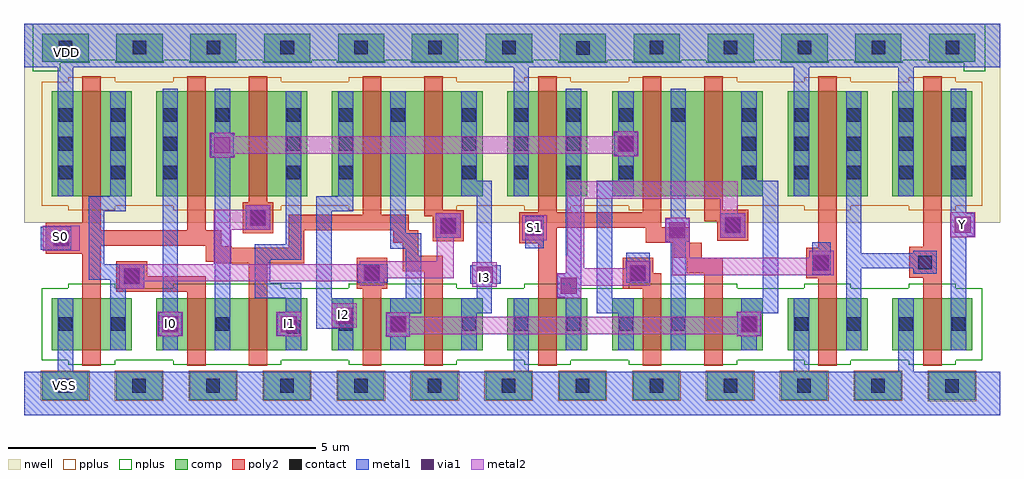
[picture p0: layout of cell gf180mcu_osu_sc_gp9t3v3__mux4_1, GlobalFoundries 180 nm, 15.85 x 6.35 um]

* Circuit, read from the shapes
.subckt gf180mcu_osu_sc_gp9t3v3__mux4_1 I0 I1 I2 I3 S0 S1 VDD VSS Y
XM1 n1 S0 VSS VSS nfet_03v3 w=0.85u l=0.3u
XM2 n2 n1 I0 VSS nfet_03v3 w=0.85u l=0.3u
XM3 I1 S0 n2 VSS nfet_03v3 w=0.85u l=0.3u
XM4 n3 n1 I2 VSS nfet_03v3 w=0.85u l=0.3u
XM5 I3 S0 n3 VSS nfet_03v3 w=0.85u l=0.3u
XM6 n4 S1 VSS VSS nfet_03v3 w=0.85u l=0.3u
XM7 n5 n4 n2 VSS nfet_03v3 w=0.85u l=0.3u
XM8 n3 S1 n5 VSS nfet_03v3 w=0.85u l=0.3u
XM9 n6 n5 VSS VSS nfet_03v3 w=0.85u l=0.3u
XM10 Y n6 VSS VSS nfet_03v3 w=0.85u l=0.3u
XM11 n1 S0 VDD VDD pfet_03v3 w=1.7u l=0.3u
XM12 n2 S0 I0 VDD pfet_03v3 w=1.7u l=0.3u
XM13 I1 n1 n2 VDD pfet_03v3 w=1.7u l=0.3u
XM14 n3 S0 I2 VDD pfet_03v3 w=1.7u l=0.3u
XM15 I3 n1 n3 VDD pfet_03v3 w=1.7u l=0.3u
XM16 n4 S1 VDD VDD pfet_03v3 w=1.7u l=0.3u
XM17 n5 S1 n2 VDD pfet_03v3 w=1.7u l=0.3u
XM18 n3 n4 n5 VDD pfet_03v3 w=1.7u l=0.3u
XM19 n6 n5 VDD VDD pfet_03v3 w=1.7u l=0.3u
XM20 Y n6 VDD VDD pfet_03v3 w=1.7u l=0.3u
.ends

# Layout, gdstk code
import gdstk
lib = gdstk.Library(unit=1e-6, precision=1e-09)
def R(c, l, rs):  # rectangles x0, y0, x1, y1
    for r in rs: c.add(gdstk.rectangle(r[:2], r[2:], *l))
def A(c, l, x, y, w, h, nx, ny, dx, dy):  # array of equal rectangles
    R(c, l, [(x+i*dx, y+j*dy, x+i*dx+w, y+j*dy+h) for i in range(nx) for j in range(ny)])
nwell = (21, 0)
comp = (22, 0)
poly2 = (30, 0)
pplus = (31, 0)
nplus = (32, 0)
contact = (33, 0)
metal1 = (34, 0)
via1 = (35, 0)
metal2 = (36, 0)

gf180mcu_osu_sc_gp9t3v3_ = lib.new_cell('gf180mcu_osu_sc_gp9t3v3__mux4_1')
R(gf180mcu_osu_sc_gp9t3v3_, nwell, [(0,3.12,15.85,6.35)])
A(gf180mcu_osu_sc_gp9t3v3_, comp, 0.295, 0.25, 0.75, 0.45, 12, 1, 1.2, 0)
A(gf180mcu_osu_sc_gp9t3v3_, comp, 0.3, 5.74, 0.75, 0.45, 13, 1, 1.2, 0)
R(gf180mcu_osu_sc_gp9t3v3_, comp, [(14.695,0.245,15.445,0.695), (0.45,1.05,1.75,1.9), (2.15,1.05,4.6,1.9), (5,1.05,7.45,1.9), (7.85,1.05,9.15,1.9), (9.55,1.05,12,1.9), (12.4,1.05,13.7,1.9), (14.1,1.05,15.4,1.9), (0.45,3.555,1.75,5.255), (2.15,3.555,4.6,5.255), (5,3.555,7.45,5.255), (7.85,3.555,9.15,5.255), (9.55,3.555,12,5.255), (12.4,3.555,13.7,5.255), (14.1,3.555,15.4,5.255)])
R(gf180mcu_osu_sc_gp9t3v3_, poly2, [(0.95,0.8,1.25,2.62), (2.65,0.8,2.95,2), (3.65,0.8,3.95,2.465), (5.5,0.8,5.8,2.05), (6.5,0.8,6.8,2.335), (8.35,0.8,8.65,2.79), (10.05,0.8,10.35,2.05), (11.05,0.8,11.35,2.3), (12.9,0.8,13.2,2.22), (14.6,0.8,14.9,2.23), (1.5,2,2.95,2.25), (5.4,2.05,5.9,2.55), (9.72,2.05,10.35,2.3), (12.7,2.22,13.2,2.72), (14.38,2.23,14.9,2.73), (1.5,2.25,2,2.5), (9.72,2.3,10.22,2.55), (10.76,2.3,11.35,2.55), (6.15,2.335,6.8,2.585), (3.12,2.465,4.55,2.49), (2.95,2.49,4.55,2.715), (10.55,2.55,11.01,2.8), (6.15,2.585,6.4,2.8), (0.355,2.62,1.25,2.75), (2.95,2.715,3.37,2.74), (4.3,2.715,4.55,3), (12.9,2.72,13.2,5.505), (14.6,2.73,14.9,5.505), (2.95,2.74,3.2,2.75), (0.355,2.75,3.2,3), (8.04,2.79,8.65,3.04), (6,2.8,6.4,3), (10.1,2.8,10.8,3.04), (6.64,2.825,7.14,3.23), (11.26,2.83,11.76,3.145), (3.55,2.955,4.05,3.455), (0.355,3,1.25,3.12), (2.65,3,2.95,5.505), (4.3,3,6.25,3.25), (8.04,3.04,10.8,3.05), (8.04,3.05,10.35,3.29), (0.95,3.12,1.25,5.505), (11.05,3.145,11.76,3.33), (6.5,3.23,7.14,3.325), (5.5,3.25,5.8,5.505), (8.35,3.29,8.65,5.505), (10.05,3.29,10.35,5.505), (6.5,3.325,6.8,5.505), (11.05,3.33,11.35,5.505), (3.65,3.455,3.95,5.505)])
A(gf180mcu_osu_sc_gp9t3v3_, pplus, 0.275, 0.23, 0.79, 0.49, 12, 1, 1.2, 0)
R(gf180mcu_osu_sc_gp9t3v3_, pplus, [(14.675,0.225,15.465,0.715), (0.72,3.325,1.48,3.395), (2.42,3.325,4.18,3.395), (5.27,3.325,7.03,3.395), (8.12,3.325,8.88,3.395), (9.82,3.325,11.58,3.395), (12.67,3.325,13.43,3.395), (14.37,3.325,15.13,3.395), (0.29,3.395,15.56,5.415), (0.72,5.415,1.48,5.485), (2.42,5.415,4.18,5.485), (5.27,5.415,7.03,5.485), (8.12,5.415,8.88,5.485), (9.82,5.415,11.58,5.485), (12.67,5.415,13.43,5.485), (14.37,5.415,15.13,5.485)])
A(gf180mcu_osu_sc_gp9t3v3_, nplus, 1.48, 5.72, 0.79, 0.04, 11, 1, 1.2, 0)
R(gf180mcu_osu_sc_gp9t3v3_, nplus, [(0.72,0.82,1.48,0.89), (2.42,0.82,4.18,0.89), (5.27,0.82,7.03,0.89), (8.12,0.82,8.88,0.89), (9.82,0.82,11.58,0.89), (12.67,0.82,13.43,0.89), (14.37,0.82,15.13,0.89), (0.29,0.89,15.56,2.06), (0.72,2.06,1.48,2.13), (2.42,2.06,4.18,2.13), (5.27,2.06,7.03,2.13), (8.12,2.06,8.88,2.13), (9.82,2.06,11.58,2.13), (12.67,2.06,13.43,2.13), (14.37,2.06,15.13,2.13), (0.14,5.58,0.59,5.72), (15.26,5.58,15.61,5.72), (0.14,5.72,1.07,5.76), (14.68,5.72,15.61,5.76), (0.14,5.76,15.61,6.35)])
A(gf180mcu_osu_sc_gp9t3v3_, contact, 0.56, 0.365, 0.22, 0.22, 12, 1, 1.2, 0)
A(gf180mcu_osu_sc_gp9t3v3_, contact, 0.565, 1.365, 0.22, 0.22, 4, 2, 0.85, 3.4)
A(gf180mcu_osu_sc_gp9t3v3_, contact, 7.115, 1.365, 0.22, 0.22, 5, 2, 0.85, 3.4)
A(gf180mcu_osu_sc_gp9t3v3_, contact, 11.665, 1.365, 0.22, 0.22, 5, 2, 0.85, 2.46)
A(gf180mcu_osu_sc_gp9t3v3_, contact, 0.565, 3.825, 0.22, 0.22, 3, 2, 0.85, 0.47)
A(gf180mcu_osu_sc_gp9t3v3_, contact, 7.115, 3.825, 0.22, 0.22, 4, 2, 0.85, 0.47)
A(gf180mcu_osu_sc_gp9t3v3_, contact, 11.665, 4.295, 0.22, 0.22, 5, 2, 0.85, 0.47)
A(gf180mcu_osu_sc_gp9t3v3_, contact, 4.265, 4.765, 0.22, 0.22, 3, 1, 0.85, 0)
A(gf180mcu_osu_sc_gp9t3v3_, contact, 0.565, 5.855, 0.22, 0.22, 7, 1, 1.2, 0)
A(gf180mcu_osu_sc_gp9t3v3_, contact, 10.165, 5.855, 0.22, 0.22, 5, 1, 1.2, 0)
R(gf180mcu_osu_sc_gp9t3v3_, contact, [(14.96,0.36,15.18,0.58), (4.265,1.32,4.485,1.54), (5.115,1.365,5.335,1.585), (5.965,1.365,6.185,1.585), (1.64,2.14,1.86,2.36), (5.54,2.19,5.76,2.41), (9.86,2.19,10.08,2.41), (12.84,2.36,13.06,2.58), (14.52,2.37,14.74,2.59), (0.495,2.76,0.715,2.98), (8.18,2.93,8.4,3.15), (6.78,2.965,7,3.185), (11.4,2.97,11.62,3.19), (3.69,3.095,3.91,3.315), (4.265,3.825,4.485,4.045), (5.115,3.825,5.335,4.045), (4.265,4.295,4.485,4.515), (5.115,4.295,5.335,4.515), (8.965,5.85,9.185,6.07)])
R(gf180mcu_osu_sc_gp9t3v3_, metal1, [(0,0,15.85,0.7), (0.55,0.7,0.8,1.9), (7.95,0.7,8.2,1.9), (12.5,0.7,12.75,1.9), (14.2,0.7,14.45,1.9), (1.4,1.05,1.65,2.05), (2.25,1.05,2.5,1.285), (3.1,1.05,3.35,4.19), (4.25,1.05,4.5,1.285), (5.1,1.05,5.35,1.4), (5.95,1.05,6.2,1.28), (7.1,1.05,7.35,1.65), (8.8,1.05,9.05,1.91), (9.65,1.05,9.9,1.65), (10.5,1.05,10.75,2.81), (11.65,1.05,11.9,1.285), (13.35,1.05,13.6,2.38), (15.05,1.05,15.3,2.9), (5.885,1.28,6.265,1.65), (2.185,1.285,2.565,1.665), (4.11,1.285,4.5,1.665), (11.585,1.285,11.965,1.65), (4.75,1.4,5.35,1.9), (5.885,1.65,6.45,1.66), (7.1,1.65,7.6,1.9), (9.3,1.65,9.9,1.9), (11.585,1.65,12.25,1.665), (5.95,1.66,6.45,1.9), (2.25,1.665,2.5,5.3), (4.25,1.665,4.5,1.9), (11.65,1.665,12.25,1.9), (3.75,1.9,4.5,2.15), (4.75,1.9,5,3.305), (6.2,1.9,6.45,2.7), (7.35,1.9,7.6,2.13), (9.3,1.9,9.55,3.555), (12,1.9,12.25,3.555), (8.66,1.91,9.05,2.29), (1.4,2.05,1.95,2.2), (7.25,2.13,7.74,2.43), (9.78,2.145,10.16,2.635), (3.75,2.15,4,2.525), (5.42,2.15,5.91,2.45), (1.05,2.2,1.95,2.45), (12.8,2.28,13.1,2.805), (8.8,2.29,9.05,5.3), (14.44,2.29,14.82,2.38), (13.35,2.38,14.82,2.63), (7.35,2.43,7.6,3.555), (1.05,2.45,1.3,3.305), (3.75,2.525,4.5,2.775), (13.35,2.63,13.6,5.255), (14.44,2.63,14.82,2.67), (0.275,2.68,0.765,3.06), (5.95,2.7,6.45,2.95), (8.14,2.71,8.44,3.23), (4.25,2.775,4.5,5.255), (10.42,2.81,10.8,3.19), (6.69,2.875,7.09,3.275), (11.31,2.88,11.71,3.28), (15.05,2.9,15.435,3.28), (5.95,2.95,6.2,5.255), (3.6,3.005,4,3.405), (10.5,3.19,10.75,5.3), (15.05,3.28,15.3,5.3), (1.05,3.305,1.65,3.555), (4.75,3.305,5.35,3.555), (0.55,3.555,0.8,5.65), (1.4,3.555,1.65,5.255), (5.1,3.555,5.35,5.255), (7.1,3.555,7.6,3.805), (7.95,3.555,8.2,5.65), (9.3,3.555,9.9,3.805), (11.65,3.555,12.25,3.805), (12.5,3.555,12.75,5.65), (14.2,3.555,14.45,5.65), (7.1,3.805,7.35,5.255), (9.65,3.805,9.9,4.215), (11.65,3.805,11.9,5.255), (3.03,4.19,3.41,4.57), (9.585,4.215,9.965,4.595), (3.1,4.57,3.35,5.3), (9.65,4.595,9.9,5.255), (0,5.65,15.85,6.35)])
R(gf180mcu_osu_sc_gp9t3v3_, via1, [(5.945,1.34,6.205,1.6), (2.245,1.345,2.505,1.605), (4.17,1.345,4.43,1.605), (11.645,1.345,11.905,1.605), (5.07,1.485,5.33,1.745), (8.72,1.97,8.98,2.23), (1.62,2.12,1.88,2.38), (7.35,2.15,7.61,2.41), (5.52,2.17,5.78,2.43), (9.84,2.17,10.1,2.43), (12.82,2.34,13.08,2.6), (0.475,2.74,0.735,3), (10.48,2.87,10.74,3.13), (8.16,2.91,8.42,3.17), (6.76,2.945,7.02,3.205), (11.38,2.95,11.64,3.21), (15.115,2.96,15.375,3.22), (3.67,3.075,3.93,3.335), (3.09,4.25,3.35,4.51), (9.645,4.275,9.905,4.535)])
R(gf180mcu_osu_sc_gp9t3v3_, metal2, [(5.875,1.27,6.275,1.315), (2.175,1.275,2.575,1.675), (4.1,1.275,4.5,1.675), (11.575,1.275,11.975,1.315), (5.875,1.315,11.975,1.595), (5,1.415,5.4,1.815), (5.875,1.595,6.275,1.67), (11.575,1.595,11.975,1.675), (8.65,1.9,9.05,2.1), (1.55,2.05,1.95,2.17), (7.28,2.08,7.68,2.48), (5.45,2.1,5.85,2.17), (8.65,2.1,10.17,2.3), (1.55,2.17,5.85,2.22), (1.55,2.22,6.98,2.45), (10.53,2.27,13.15,2.55), (8.8,2.3,10.17,2.38), (8.8,2.38,9.1,2.59), (9.77,2.38,10.17,2.5), (3.085,2.45,3.365,3.005), (5.45,2.45,6.98,2.5), (6.7,2.5,6.98,2.875), (10.53,2.55,10.81,2.8), (12.75,2.55,13.15,2.67), (8.82,2.59,9.1,3.515), (0.305,2.67,0.905,3.07), (10.41,2.8,10.81,3.2), (8.09,2.84,8.49,3.24), (6.69,2.875,7.09,3.275), (11.31,2.88,11.71,3.28), (15.045,2.89,15.445,3.29), (3.085,3.005,4,3.33), (11.31,3.28,11.59,3.515), (3.6,3.33,4,3.405), (8.82,3.515,11.59,3.795), (3.02,4.18,3.42,4.245), (9.575,4.205,9.975,4.245), (3.02,4.245,9.975,4.525), (3.02,4.525,3.42,4.58), (9.575,4.525,9.975,4.605)])
gf180mcu_osu_sc_gp9t3v3_.add(gdstk.Label('VSS', (0.66,0.48), layer=34, texttype=10))
gf180mcu_osu_sc_gp9t3v3_.add(gdstk.Label('VDD', (0.695,5.895), layer=34, texttype=10))
gf180mcu_osu_sc_gp9t3v3_.add(gdstk.Label('Y', (15.24,3.095), layer=36, texttype=10))
gf180mcu_osu_sc_gp9t3v3_.add(gdstk.Label('I1', (4.305,1.485), layer=36, texttype=10))
gf180mcu_osu_sc_gp9t3v3_.add(gdstk.Label('I0', (2.38,1.49), layer=36, texttype=10))
gf180mcu_osu_sc_gp9t3v3_.add(gdstk.Label('I2', (5.19,1.625), layer=36, texttype=10))
gf180mcu_osu_sc_gp9t3v3_.add(gdstk.Label('I3', (7.48,2.235), layer=36, texttype=10))
gf180mcu_osu_sc_gp9t3v3_.add(gdstk.Label('S1', (8.285,3.05), layer=36, texttype=10))
gf180mcu_osu_sc_gp9t3v3_.add(gdstk.Label('S0', (0.6,2.895), layer=36, texttype=10))

lib.write_gds('gf180mcu_osu_sc_gp9t3v3__mux4_1.gds')
